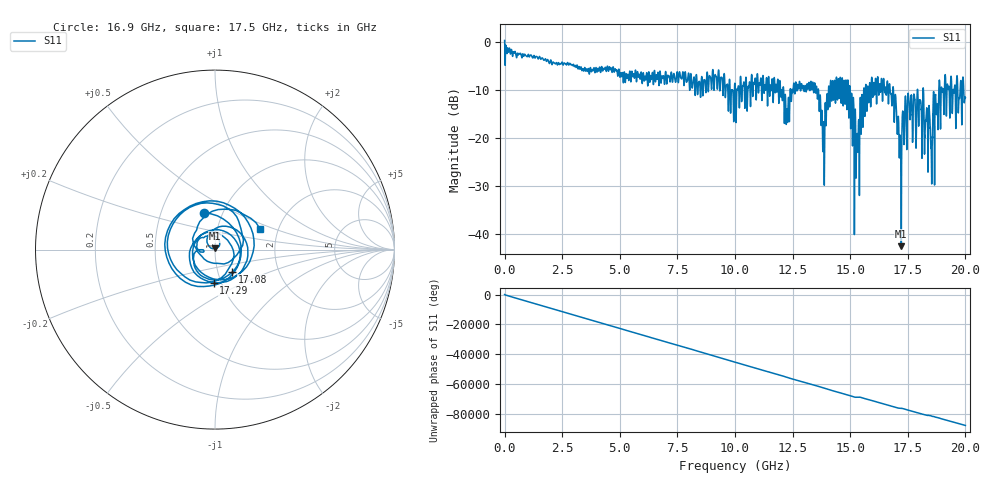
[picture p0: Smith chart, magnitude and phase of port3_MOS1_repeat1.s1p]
! MS46122B
! 2250307/22442219
! 7/24/2025 7:47:52 AM
! C:\USERS\SPARKY\DOCUMENTS\VNA_DATA\JULY24_2025\3K\PORT3_MOS1_REPEAT1.S1P
! CHANNEL.1
! TR.MEASUREMENT
! RAW.DATA
# GHZ S RI R 50.0
! FREQ.GHZ  S11RE  S11IM
!; PortSelection: Port_1
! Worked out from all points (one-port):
!   10001 points, 1 MHz to 20 GHz, reference 50 ohm
!   lowest |S11| = -42.6 dB at 17.22 GHz (marker M1), VSWR 1.01, Z = 49.9 + j0.73 ohm
!   |S11| at or under -10 dB: 14.99 GHz to 15.59 GHz (594.9 MHz wide, 3.89 % of centre); 16.88 GHz to 17.91 GHz (1.036 GHz wide, 5.96 % of centre); 18.18 GHz to 18.85 GHz (668.5 MHz wide, 3.61 % of centre) (the widest 3 of 88)
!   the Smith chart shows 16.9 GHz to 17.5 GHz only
!   S11 on the Smith chart (normalised r, x): 16.9 GHz: 0.82, +0.35; 17.08 GHz: 1.17, -0.30; 17.29 GHz: 0.92, -0.35; 17.5 GHz: 1.60, +0.41
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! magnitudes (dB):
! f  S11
! 1 MHz  0.4
! 2.501 GHz  -4.2
! 5.001 GHz  -7.2
! 7.501 GHz  -6.2
! 9.217 GHz  -8.6
! 10 GHz  -8.6
! 11.78 GHz  -8.8
! 12.28 GHz  -16.7
! 12.5 GHz  -10.2
! 13.46 GHz  -8.5
! 13.82 GHz  -21.6
! 14.23 GHz  -8.0
! 15 GHz  -11.5
! 15.27 GHz  -22.6
! 15.52 GHz  -11.2
! 16.01 GHz  -8.5
! 16.9 GHz  -13.4
! 17.08 GHz  -16.0
! 17.13 GHz  -24.1
! 17.22 GHz  -42.6
! 17.29 GHz  -14.6
! 17.34 GHz  -21.2
! 17.5 GHz  -11.5
! 17.5 GHz  -11.2
! 17.99 GHz  -13.7
! 18.47 GHz  -17.2
! 19.05 GHz  -11.4
! 20 GHz  -11.6
